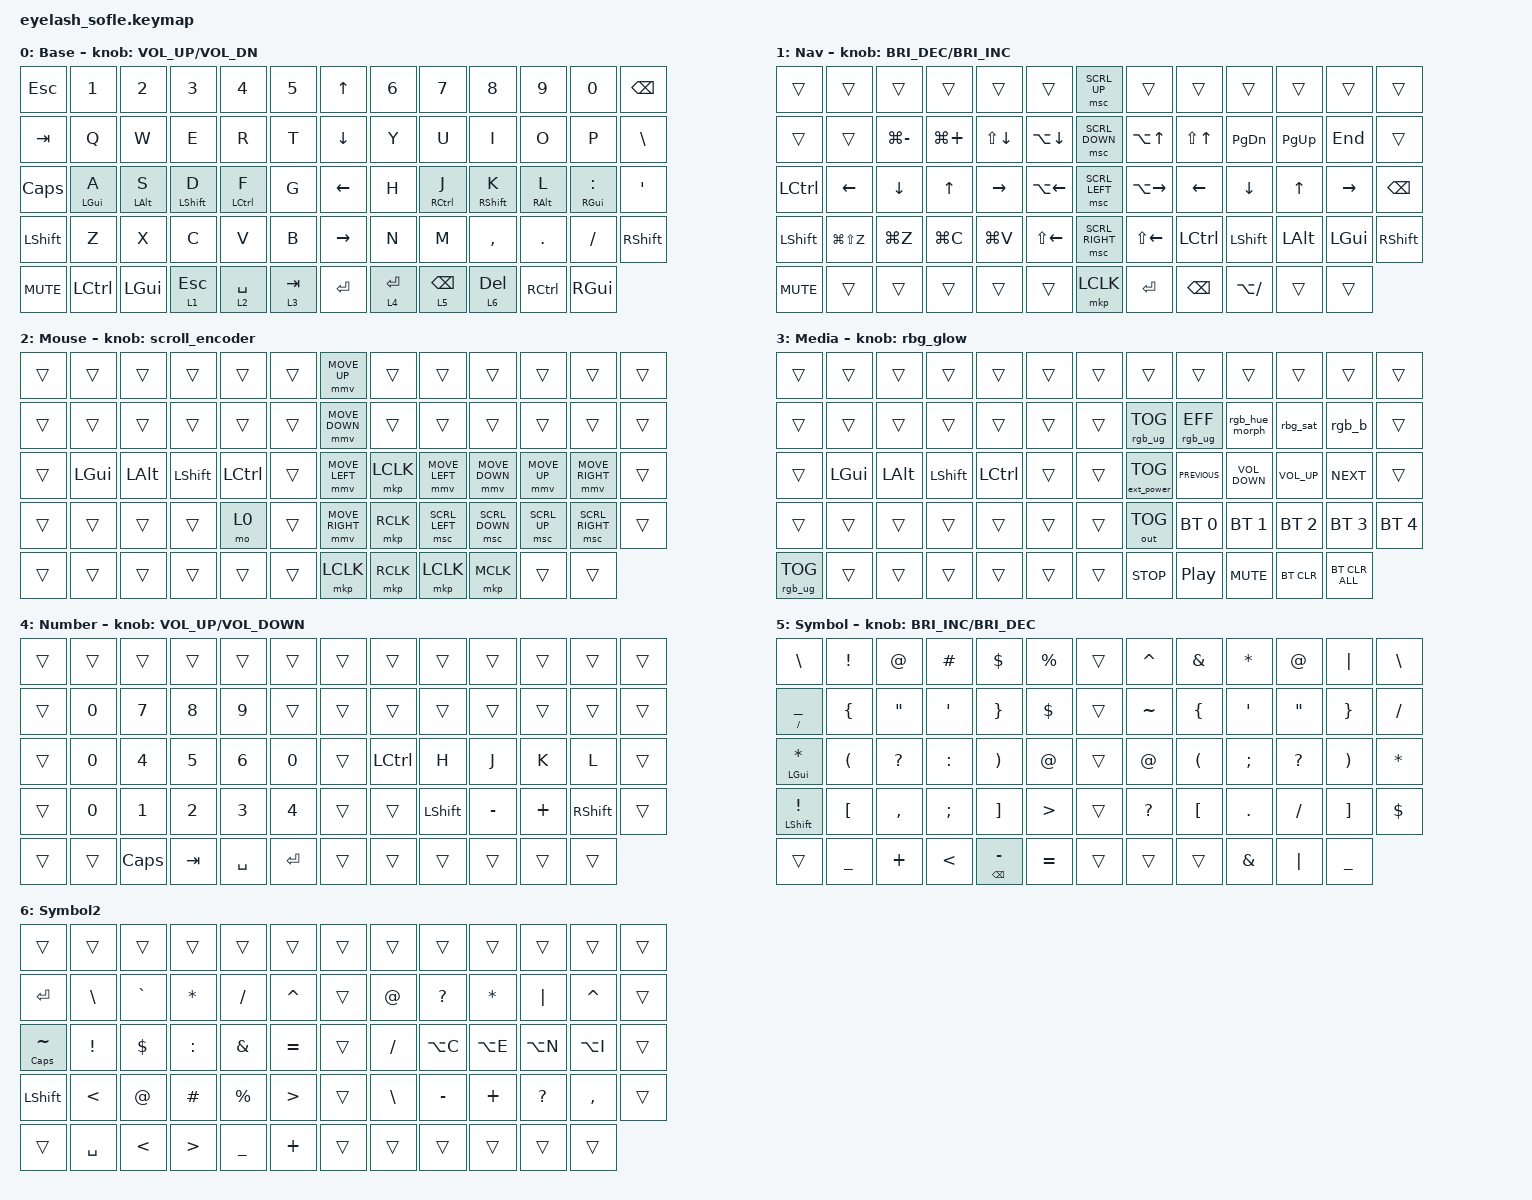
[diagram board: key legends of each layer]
#define ZMK_POINTING_DEFAULT_MOVE_VAL 1200  // 600
#define ZMK_POINTING_DEFAULT_SCRL_VAL 25   // 10

#include <input/processors.dtsi>
#include <zephyr/dt-bindings/input/input-event-codes.h>
#include <behaviors.dtsi>
#include <dt-bindings/zmk/bt.h>
#include <dt-bindings/zmk/ext_power.h>
#include <dt-bindings/zmk/keys.h>
#include <dt-bindings/zmk/outputs.h>
#include <dt-bindings/zmk/pointing.h>
#include <dt-bindings/zmk/rgb.h>

&mmv_input_listener { input-processors = <&zip_xy_scaler 2 1>; };

&msc_input_listener { input-processors = <&zip_scroll_scaler 2 1>; };

&msc {
    acceleration-exponent = <1>;      // 0
    time-to-max-speed-ms = <100>;       // 300
    delay-ms = <0>;                   // 0
};

&mmv {
    time-to-max-speed-ms = <500>;
    acceleration-exponent = <1>;
    trigger-period-ms = <16>;
};

/ {
    scroll_encoder: scroll_encoder {
        compatible = "zmk,behavior-sensor-rotate";
        #sensor-binding-cells = <0>;
        bindings = <&msc SCRL_DOWN>, <&msc SCRL_UP>;

        tap-ms = <100>;
    };

    hrm: homerow_mod {
        compatible = "zmk,behavior-hold-tap";
        label = "Homerow Mod";
        bindings = <&kp>, <&kp>;

        #binding-cells = <2>;
        hold-trigger-on-release;
        require-prior-idle-ms = <150>;
        tapping-term-ms = <280>;
        quick-tap-ms = <175>;
        flavor = "balanced";
    };

    rbg_glow: rbg_glow {
        compatible = "zmk,behavior-sensor-rotate";
        #sensor-binding-cells = <0>;
        bindings = <&rgb_ug RGB_BRI>, <&rgb_ug RGB_BRD>;

        tap-ms = <100>;
        label = "RBG_GLOW";
    };

    combos {
        compatible = "zmk,combos";

        Vim-Normal {
            bindings = <&kp ESC>;
            key-positions = <43 30>;
        };
    };

    behaviors {
        as_ht: autoshift_hold_tap {
            compatible = "zmk,behavior-hold-tap";
            label = "AUTOSHIFT_HOLD_TAP";
            #binding-cells = <2>;
            tapping-term-ms = <200>;
            bindings = <&shifted>, <&kp>;
        };

        rgb_hue_morph: rgb_h_morph {
            compatible = "zmk,behavior-mod-morph";
            label = "I/D RGB w/ Shift";
            bindings = <&rgb_ug RGB_HUI>, <&rgb_ug RGB_HUD>;

            #binding-cells = <0>;
            mods = <(MOD_RSFT|MOD_LSFT)>;
        };

        rgb_b: rgb_b_morph {
            compatible = "zmk,behavior-mod-morph";
            label = "RGB Brightness Morph";
            bindings = <&rgb_ug RGB_BRI>, <&rgb_ug RGB_BRD>;

            #binding-cells = <0>;
            mods = <(MOD_LSFT|MOD_RSFT)>;
        };

        rbg_sat: rbg_sat {
            compatible = "zmk,behavior-mod-morph";
            label = "RBG_SAT";
            bindings = <&rgb_ug RGB_SAI>, <&rgb_ug RGB_SAD>;

            #binding-cells = <0>;
            mods = <(MOD_LSFT|MOD_RSFT)>;
        };

        gte_s: gte_s {
            compatible = "zmk,behavior-mod-morph";
            label = "GTE_S";
            bindings = <&kp GREATER_THAN>, <&gte>;

            #binding-cells = <0>;
            mods = <(MOD_LSFT|MOD_RSFT)>;
        };

        lte_s: lte_s {
            compatible = "zmk,behavior-mod-morph";
            label = "LTE_S";
            bindings = <&kp LESS_THAN>, <&lte>;

            #binding-cells = <0>;
            mods = <(MOD_LSFT|MOD_RSFT)>;
        };
    };

    macros {
        shifted: macro_shifted_kp {
            #binding-cells = <1>;
            label = "MACRO_SHIFTED_KP";
            compatible = "zmk,behavior-macro-one-param";
            bindings =
                <&macro_press>,
                <&kp LSHFT &macro_param_1to1>,
                <&macro_tap>,
                <&kp MACRO_PLACEHOLDER>,
                <&macro_release>,
                <&kp LSHFT>;
        };

        as: autoshift {
            compatible = "zmk,behavior-macro-one-param";
            #binding-cells = <1>;
            label = "AUTOSHIFT_KP";
            bindings =
                <&macro_press>,
                <&macro_param_1to1 &macro_param_1to2 &as_ht MACRO_PLACEHOLDER MACRO_PLACEHOLDER>,
                <&macro_pause_for_release>,
                <&macro_release>,
                <&macro_param_1to1 &macro_param_1to2 &as_ht MACRO_PLACEHOLDER MACRO_PLACEHOLDER>;
        };

        gte: gte {
            compatible = "zmk,behavior-macro";
            #binding-cells = <0>;
            bindings = <&kp GREATER_THAN &kp EQUAL>;
            label = "GTE";
        };

        lte: lte {
            compatible = "zmk,behavior-macro";
            #binding-cells = <0>;
            bindings = <&kp LESS_THAN &kp EQUAL>;
            label = "LTE";
        };

        dcolon: dcolon {
            compatible = "zmk,behavior-macro";
            #binding-cells = <0>;
            bindings = <&kp COLON &kp COLON>;
            label = "DCOLON";
        };
    };

    keymap {
        compatible = "zmk,keymap";

        Base {
            bindings = <
&kp ESC     &kp N1       &kp N2        &kp N3         &kp N4        &kp N5       &kp UP_ARROW     &kp N6       &kp N7                &kp N8         &kp N9             &kp N0           &kp BACKSPACE
&kp TAB     &kp Q        &kp W         &kp E          &kp R         &kp T        &kp DOWN_ARROW   &kp Y        &kp U                 &kp I          &kp O              &kp P            &kp BSLH
&kp CAPS    &hrm LGUI A  &hrm LALT S   &hrm LSHIFT D  &hrm LCTRL F  &kp G        &kp LEFT_ARROW   &kp H        &hrm RIGHT_CONTROL J  &hrm RSHIFT K  &hrm RALT L        &hrm RGUI COLON  &kp APOS
&kp LSHFT   &kp Z        &kp X         &kp C          &kp V         &kp B        &kp RIGHT_ARROW  &kp N        &kp M                 &kp COMMA      &kp DOT            &kp FSLH         &kp RIGHT_SHIFT
&kp C_MUTE  &kp LCTRL    &kp LEFT_GUI  &lt 1 ESC      &lt 2 SPACE   &lt 3 TAB    &kp ENTER        &lt 4 ENTER  &lt 5 BACKSPACE       &lt 6 DELETE   &kp RIGHT_CONTROL  &kp RIGHT_GUI
            >;

            sensor-bindings = <&inc_dec_kp C_VOLUME_UP C_VOL_DN>;
            display-name = "Base";
        };

        Navigation {
            bindings = <
&trans            &trans         &trans          &trans        &trans        &trans          &msc SCRL_UP     &trans            &trans            &trans          &trans        &trans        &trans
&trans            &trans         &kp LG(MINUS)   &kp LG(PLUS)  &kp LS(DOWN)  &kp LA(DOWN)    &msc SCRL_DOWN   &kp LA(UP_ARROW)  &kp LS(UP_ARROW)  &kp PAGE_DOWN   &kp PAGE_UP   &kp END       &trans
&kp LEFT_CONTROL  &kp LEFT       &kp DOWN_ARROW  &kp UP_ARROW  &kp RIGHT     &kp LA(LEFT)    &msc SCRL_LEFT   &kp LA(RIGHT)     &kp LEFT_ARROW    &kp DOWN_ARROW  &kp UP        &kp RIGHT     &kp BACKSPACE
&kp LEFT_SHIFT    &kp LG(LS(Z))  &kp LG(Z)       &kp LG(C)     &kp LG(V)     &kp LS(LEFT)    &msc SCRL_RIGHT  &kp LS(LEFT)      &kp LEFT_CONTROL  &kp LEFT_SHIFT  &kp LEFT_ALT  &kp LEFT_GUI  &kp RIGHT_SHIFT
&kp C_MUTE        &trans         &trans          &trans        &trans        &trans          &mkp LCLK        &kp ENTER         &kp BACKSPACE     &kp LA(SLASH)   &trans        &trans
            >;

            sensor-bindings = <&inc_dec_kp C_BRIGHTNESS_DEC C_BRIGHTNESS_INC>;
            label = "Nav";
        };

        Mouse {
            bindings = <
&trans  &trans        &trans    &trans      &trans     &trans    &mmv MOVE_UP     &trans     &trans          &trans          &trans        &trans           &trans
&trans  &trans        &trans    &trans      &trans     &trans    &mmv MOVE_DOWN   &trans     &trans          &trans          &trans        &trans           &trans
&trans  &kp LEFT_GUI  &kp LALT  &kp LSHIFT  &kp LCTRL  &trans    &mmv MOVE_LEFT   &mkp LCLK  &mmv MOVE_LEFT  &mmv MOVE_DOWN  &mmv MOVE_UP  &mmv MOVE_RIGHT  &trans
&trans  &trans        &trans    &trans      &mo 0      &trans    &mmv MOVE_RIGHT  &mkp RCLK  &msc SCRL_LEFT  &msc SCRL_DOWN  &msc SCRL_UP  &msc SCRL_RIGHT  &trans
&trans  &trans        &trans    &trans      &trans     &trans    &mkp LCLK        &mkp RCLK  &mkp LCLK       &mkp MCLK       &trans        &trans
            >;

            sensor-bindings = <&scroll_encoder>;
            label = "Mouse";
        };

        Media {
            bindings = <
&trans           &trans        &trans    &trans      &trans     &trans    &trans  &trans             &trans            &trans             &trans           &trans          &trans
&trans           &trans        &trans    &trans      &trans     &trans    &trans  &rgb_ug RGB_TOG    &rgb_ug RGB_EFF   &rgb_hue_morph     &rbg_sat         &rgb_b          &trans
&trans           &kp LEFT_GUI  &kp LALT  &kp LSHIFT  &kp LCTRL  &trans    &trans  &ext_power EP_TOG  &kp C_PREVIOUS    &kp C_VOLUME_DOWN  &kp C_VOLUME_UP  &kp C_NEXT      &trans
&trans           &trans        &trans    &trans      &trans     &trans    &trans  &out OUT_TOG       &bt BT_SEL 0      &bt BT_SEL 1       &bt BT_SEL 2     &bt BT_SEL 3    &bt BT_SEL 4
&rgb_ug RGB_TOG  &trans        &trans    &trans      &trans     &trans    &trans  &kp C_STOP         &kp C_PLAY_PAUSE  &kp K_MUTE         &bt BT_CLR       &bt BT_CLR_ALL
            >;

            sensor-bindings = <&rbg_glow>;
            label = "Media";
        };

        Number {
            bindings = <
&trans  &trans  &trans        &trans        &trans        &trans          &trans  &trans            &trans          &trans     &trans    &trans           &trans
&trans  &kp N0  &kp N7        &kp N8        &kp N9        &trans          &trans  &trans            &trans          &trans     &trans    &trans           &trans
&trans  &kp N0  &kp NUMBER_4  &kp N5        &kp NUMBER_6  &kp N0          &trans  &kp LEFT_CONTROL  &kp H           &kp J      &kp K     &kp L            &trans
&trans  &kp N0  &kp NUMBER_1  &kp NUMBER_2  &kp NUMBER_3  &kp NUMBER_4    &trans  &trans            &kp LEFT_SHIFT  &kp MINUS  &kp PLUS  &kp RIGHT_SHIFT  &trans
&trans  &trans  &kp CAPSLOCK  &kp TAB       &kp SPACE     &kp ENTER       &trans  &trans            &trans          &trans     &trans    &trans
            >;

            label = "Number";
            sensor-bindings = <&inc_dec_kp C_VOLUME_UP C_VOLUME_DOWN>;
        };

        Symbol {
            bindings = <
&kp BACKSLASH               &kp EXCLAMATION       &kp AT             &kp HASH          &kp DOLLAR             &kp PERCENT         &trans  &kp CARET     &kp AMPERSAND         &kp ASTERISK      &kp AT             &kp PIPE               &kp BACKSLASH
&hrm SLASH UNDER            &kp LEFT_BRACE        &kp DOUBLE_QUOTES  &kp SINGLE_QUOTE  &kp RIGHT_BRACE        &kp DOLLAR          &trans  &kp TILDE     &kp LEFT_BRACE        &kp SINGLE_QUOTE  &kp DOUBLE_QUOTES  &kp RIGHT_BRACE        &kp SLASH
&hrm LEFT_GUI ASTERISK      &kp LEFT_PARENTHESIS  &kp QUESTION       &kp COLON         &kp RIGHT_PARENTHESIS  &kp AT              &trans  &kp AT        &kp LEFT_PARENTHESIS  &kp SEMICOLON     &kp QUESTION       &kp RIGHT_PARENTHESIS  &kp ASTERISK
&mt LEFT_SHIFT EXCLAMATION  &kp LEFT_BRACKET      &kp COMMA          &kp SEMICOLON     &kp RIGHT_BRACKET      &kp GREATER_THAN    &trans  &kp QUESTION  &kp LEFT_BRACKET      &kp PERIOD        &kp SLASH          &kp RIGHT_BRACKET      &kp DOLLAR
&trans                      &kp UNDERSCORE        &kp PLUS           &kp LESS_THAN     &hrm BACKSPACE MINUS   &kp EQUAL           &trans  &trans        &trans                &kp AMPERSAND     &kp PIPE           &kp UNDERSCORE
            >;

            label = "Symbol";
            sensor-bindings = <&inc_dec_kp C_BRIGHTNESS_INC C_BRIGHTNESS_DEC>;
        };

        Symbol2 {
            label = "Symbol2";
            bindings = <
&trans          &trans           &trans         &trans            &trans          &trans              &trans  &trans         &trans        &trans        &trans        &trans     &trans
&kp ENTER       &kp BACKSLASH    &kp GRAVE      &kp ASTERISK      &kp SLASH       &kp CARET           &trans  &kp AT_SIGN    &kp QUESTION  &kp ASTERISK  &kp PIPE      &kp CARET  &trans
&mt CAPS TILDE  &kp EXCLAMATION  &kp DOLLAR     &kp COLON         &kp AMPERSAND   &kp EQUAL           &trans  &kp SLASH      &kp LA(C)     &kp LA(E)     &kp LA(N)     &kp LA(I)  &trans
&kp LEFT_SHIFT  &kp LESS_THAN    &kp AT_SIGN    &kp HASH          &kp PERCENT     &kp GREATER_THAN    &trans  &kp BACKSLASH  &kp MINUS     &kp PLUS      &kp QUESTION  &kp COMMA  &trans
&trans          &kp SPACE        &kp LESS_THAN  &kp GREATER_THAN  &kp UNDERSCORE  &kp PLUS            &trans  &trans         &trans        &trans        &trans        &trans
            >;
        };
    };
};
